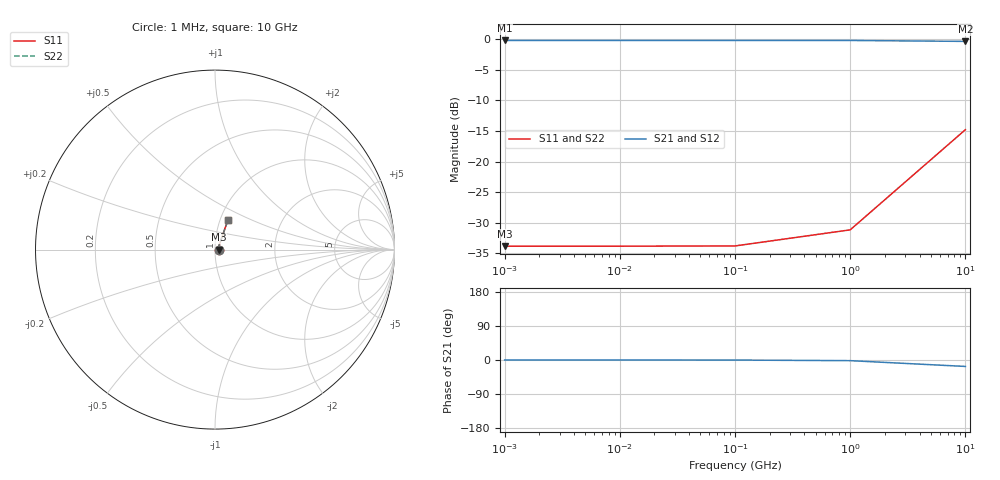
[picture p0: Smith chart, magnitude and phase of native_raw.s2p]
! Sonnet Data File
! From: em Version : 18.53-Lite
! From Project: project
! Data is NOT De-embedded
! Data File Written: 10/07/2026 08:33:06
!< HDATE 10/07/2026 08:33:06
!< MDATE 10/07/2026 08:33:06
# GHZ S RI R 50.00000
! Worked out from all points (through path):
!   5 points, 1 MHz to 10 GHz, reference 50 ohm
!   highest |S21| = -0.18 dB at 1 MHz (marker M1); lowest = -0.3 dB at 10 GHz (marker M2)
!   lowest |S11| = -33.8 dB at 1 MHz (marker M3), VSWR 1.04, Z = 52.1 + j0.0019 ohm
!   |S11| at or under -10 dB: start of sweep to end of sweep
!   |S22| runs from -33.8 to -14.8 dB; largest |S21 - S12| = 2.3e-12
0.001  0.0203 1.82e-05  0.9797 -2.96e-05  0.9797 -2.96e-05  0.0203 1.82e-05
0.01  0.0203 0.000181  0.9797 -0.000295  0.9797 -0.000295  0.0203 0.000181
0.1  0.0203 0.00181  0.9797 -0.00295  0.9797 -0.00295  0.0203 0.00181
1  0.0209 0.0181  0.9791 -0.0295  0.9791 -0.0295  0.0209 0.0181
10  0.0729 0.1671  0.9206 -0.2814  0.9206 -0.2814  0.0729 0.1671
